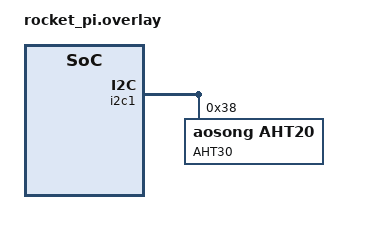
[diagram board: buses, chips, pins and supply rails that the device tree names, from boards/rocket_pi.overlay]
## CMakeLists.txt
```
# SPDX-License-Identifier: Apache-2.0

cmake_minimum_required(VERSION 3.20.0)
find_package(Zephyr REQUIRED HINTS $ENV{ZEPHYR_BASE})

project(aht30_sample)

target_sources(app PRIVATE src/main.c)
```

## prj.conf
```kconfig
CONFIG_LOG=y
CONFIG_SENSOR=y
CONFIG_DHT20=y
CONFIG_DHT20_CRC=y

# Give printk/logging a bit more stack headroom
CONFIG_MAIN_STACK_SIZE=2048
```

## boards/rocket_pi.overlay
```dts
/ {
	aliases {
		aht30 = &aht30_sensor;
	};
};

&i2c1 {
	status = "okay";

	aht30_sensor: aht30@38 {
		compatible = "aosong,aht20";
		reg = <0x38>;
		status = "okay";
		label = "AHT30";
	};
};
```

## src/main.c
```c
#include <zephyr/device.h>
#include <zephyr/devicetree.h>
#include <zephyr/drivers/sensor.h>
#include <zephyr/kernel.h>
#include <zephyr/logging/log.h>
#include <zephyr/sys/util.h>

LOG_MODULE_REGISTER(aht30_sample, CONFIG_LOG_DEFAULT_LEVEL);

#define AHT30_NODE DT_ALIAS(aht30)
#if !DT_NODE_HAS_STATUS(AHT30_NODE, okay)
#error "No alias 'aht30' found in the devicetree. Check your board overlay."
#endif

static const struct device *const aht30 = DEVICE_DT_GET(AHT30_NODE);

static inline void log_sensor_value(const char *label, const struct sensor_value *val)
{
	int32_t fractional = val->val2;

	if (fractional < 0) {
		fractional = -fractional;
	}

	LOG_INF("%s: %d.%06d", label, val->val1, fractional);
}

int main(void)
{
	struct sensor_value temperature;
	struct sensor_value humidity;
	int ret;

	if (!device_is_ready(aht30)) {
		LOG_ERR("AHT30 device %s is not ready", aht30->name);
		return 0;
	}

	while (1) {
		ret = sensor_sample_fetch(aht30);
		if (ret) {
			LOG_ERR("Failed to trigger measurement (%d)", ret);
			k_msleep(1000);
			continue;
		}

		ret = sensor_channel_get(aht30, SENSOR_CHAN_AMBIENT_TEMP, &temperature);
		if (ret) {
			LOG_ERR("Failed to read temperature (%d)", ret);
			k_msleep(1000);
			continue;
		}

		ret = sensor_channel_get(aht30, SENSOR_CHAN_HUMIDITY, &humidity);
		if (ret) {
			LOG_ERR("Failed to read humidity (%d)", ret);
			k_msleep(1000);
			continue;
		}

		LOG_INF("AHT30 sample:");
		log_sensor_value("  Temperature [C]", &temperature);
		log_sensor_value("  Humidity    [%]", &humidity);

		k_msleep(1000);
	}
}
```
